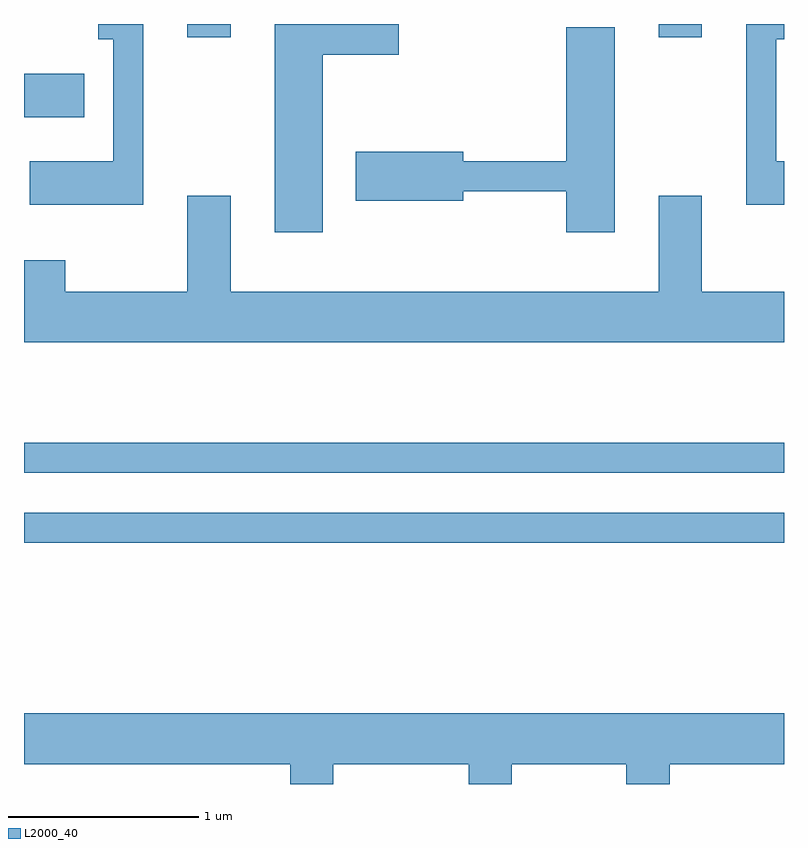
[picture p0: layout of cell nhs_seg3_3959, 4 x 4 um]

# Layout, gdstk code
import gdstk
lib = gdstk.Library(unit=1e-6, precision=1e-09)
def R(c, l, rs):  # rectangles x0, y0, x1, y1
    for r in rs: c.add(gdstk.rectangle(r[:2], r[2:], *l))
def P(c, l, *ps):  # polygons
    for p in ps: c.add(gdstk.Polygon(p, *l))
L2000_40 = (2000, 40)

nhs_seg3_3959 = lib.new_cell('nhs_seg3_3959')
R(nhs_seg3_3959, L2000_40, [(301.611,1147.161,305.611,1147.319), (301.611,1147.531,305.611,1147.689), (301.611,1149.401,301.929,1149.629), (302.471,1149.821,302.699,1149.892), (304.951,1149.821,305.179,1149.892)])
P(nhs_seg3_3959, L2000_40, [(303.184,1149.731),(303.584,1149.731),(303.584,1149.892),(302.931,1149.892),(302.931,1148.796),(303.184,1148.796)],
  [(305.611,1149.169),(305.569,1149.169),(305.569,1149.811),(305.611,1149.811),(305.611,1149.892),(305.411,1149.892),(305.411,1148.941),(305.611,1148.941)],
  [(302.239,1149.892),(302.003,1149.892),(302.003,1149.811),(302.081,1149.811),(302.081,1149.169),(301.641,1149.169),(301.641,1148.941),(302.239,1148.941)],
  [(304.719,1149.874),(304.466,1149.874),(304.466,1149.169),(303.924,1149.169),(303.924,1149.219),(303.356,1149.219),(303.356,1148.961),(303.924,1148.961),(303.924,1149.011),(304.466,1149.011),(304.466,1148.796),(304.719,1148.796)],
  [(305.611,1148.484),(305.179,1148.484),(305.179,1148.989),(304.951,1148.989),(304.951,1148.484),(302.699,1148.484),(302.699,1148.989),(302.471,1148.989),(302.471,1148.484),(301.829,1148.484),(301.829,1148.649),(301.611,1148.649),(301.611,1148.216),(305.611,1148.216)],
  [(303.239,1145.996),(303.951,1145.996),(303.951,1145.892),(304.179,1145.892),(304.179,1145.996),(304.781,1145.996),(304.781,1145.892),(305.009,1145.892),(305.009,1145.996),(305.611,1145.996),(305.611,1146.264),(301.611,1146.264),(301.611,1145.996),(303.011,1145.996),(303.011,1145.892),(303.239,1145.892)])

lib.write_gds('nhs_seg3_3959.gds')
